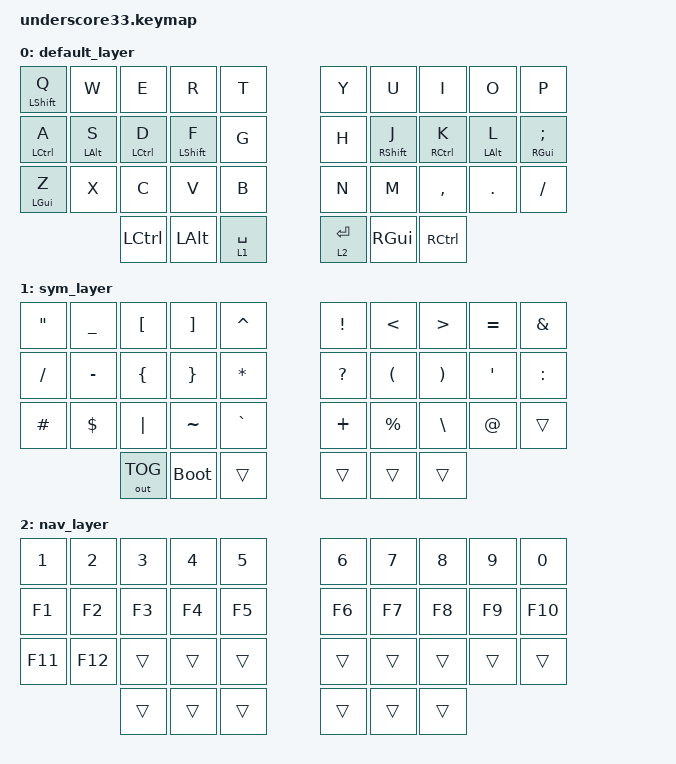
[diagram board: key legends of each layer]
/*
 * Copyright (c) 2020 The ZMK Contributors
 *
 * SPDX-License-Identifier: MIT
 */

#include <behaviors.dtsi>
#include <dt-bindings/zmk/keys.h>
#include <dt-bindings/zmk/bt.h>
#include <dt-bindings/zmk/outputs.h>

/ {

behaviors {
      hm: homerow_mods {
        compatible = "zmk,behavior-hold-tap";
        label = "HOMEROW_MODS";
        #binding-cells = <2>;
        tapping_term_ms = <300>;
        flavor = "tap-preferred";
        bindings = <&kp>, <&kp>;
    };

    combos {
        compatible = "zmk,combos";
        combo_del {
          timeout-ms = <30>;
          key-positions = <7 8>;
          bindings = <&kp DEL>;
          layers = <0 1 2>;
         };
        combo_bspc {
            timeout-ms = <30>;
            key-positions = <8 9>;
            bindings = <&kp BKSP>;
            layers = <0 1 2>;
        };
        combo_tab {
            timeout-ms = <30>;
            key-positions = <10 11>;
            bindings = <&kp TAB>;
            layers = <0>;
        };
        combo_esc {
            timeout-ms = <30>;
            key-positions = <0 1>;
            bindings = <&kp ESC>;
            layers = <0>;
        };
        combo_apos {
            timeout-ms = <30>;
            key-positions = <18 19>;
            bindings = <&kp APOS>;
            layers = <0>;
        };
        combo_left {
            timeout-ms = <30>;
            key-positions = <15 25>;
            bindings = <&kp LEFT>;
            layers = <0>;
        };        
        combo_down {
            timeout-ms = <30>;
            key-positions = <16 26>;
            bindings = <&kp DOWN>;
            layers = <0>;
        };
        combo_up {
            timeout-ms = <30>;
            key-positions = <17 27>;
            bindings = <&kp UP>;
            layers = <0>;
        };
        combo_right {
            timeout-ms = <30>;
            key-positions = <18 28>;
            bindings = <&kp RIGHT>;
            layers = <0>;
        };
        combo_lgui {
            timeout-ms = <30>;
            key-positions = <30 31>;
            bindings = <&kp LGUI>;
            layers = <0>;
        };
    };
};
keymap {
    compatible = "zmk,keymap";

    default_layer {

        bindings = <
            &hm LSHFT Q &kp W &kp E &kp R &kp T   &kp Y &kp U  &kp I     &kp O   &kp P
            &hm LCTRL A &hm LALT S &hm LCTRL D &hm LSHFT F &kp G   &kp H &hm RSHFT J  &hm RCTRL K  &hm LALT L  &hm RGUI SEMI
            &hm LGUI Z &kp X &kp C &kp V &kp B   &kp N &kp M  &kp COMMA &kp DOT &kp FSLH
            &kp LEFT_CONTROL &kp LALT &lt 1 SPC &lt 2 RET &kp RGUI &kp RCTRL
        >;
    };

    sym_layer {
        bindings = <
            &kp DQT  &kp UNDER  &kp LBKT &kp RBKT  &kp CARET &kp EXCL     &kp LT    &kp GT        &kp EQUAL &kp AMPS
            &kp FSLH &kp MINUS  &kp LBRC &kp RBRC  &kp STAR  &kp QUESTION &kp LPAR  &kp RPAR      &kp APOS  &kp COLON
            &kp HASH &kp DOLLAR &kp PIPE &kp TILDE &kp GRAVE &kp PLUS     &kp PRCNT &kp BACKSLASH &kp AT    &trans
            &out OUT_TOG &bootloader &trans &trans &trans &trans
        >;
    };

    nav_layer {
        bindings = <
            &kp N1  &kp N2  &kp N3 &kp N4 &kp N5 &kp N6 &kp N7 &kp N8 &kp N9 &kp N0
            &kp F1  &kp F2  &kp F3 &kp F4 &kp F5 &kp F6 &kp F7 &kp F8 &kp F9 &kp F10
            &kp F11 &kp F12 &trans &trans &trans &trans &trans &trans &trans &trans
            &trans  &trans  &trans &trans &trans &trans
        >;
    };
};
};
